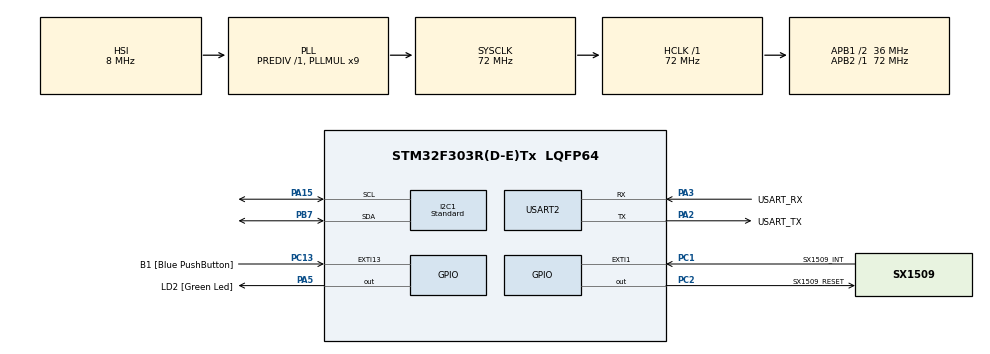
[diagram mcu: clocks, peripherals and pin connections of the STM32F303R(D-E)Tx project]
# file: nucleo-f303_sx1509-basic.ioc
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FREERTOS.Tasks01=defaultTask,24,128,StartDefaultTask,Default,NULL,Dynamic,NULL,NULL
FREERTOS.configTOTAL_HEAP_SIZE=8192
I2C1.I2C_Speed_Mode=I2C_Standard
I2C1.Timing=0x2000090E
Mcu.Family=STM32F3
Mcu.Name=STM32F303R(D-E)Tx
Mcu.Package=LQFP64
NVIC.EXTI1_IRQn=true\:5\:0\:false\:false\:true\:true\:true\:true
NVIC.FPU_IRQn=true\:5\:0\:false\:false\:true\:true\:true\:false
NVIC.I2C1_ER_IRQn=true\:5\:0\:false\:false\:true\:true\:true\:true
NVIC.I2C1_EV_IRQn=true\:5\:0\:false\:false\:true\:true\:true\:true
NVIC.PriorityGroup=NVIC_PRIORITYGROUP_4
NVIC.TIM6_DAC_IRQn=true\:0\:0\:false\:false\:true\:false\:false\:true
NVIC.TimeBase=TIM6_DAC_IRQn
NVIC.TimeBaseIP=TIM6
PA13.GPIO_Label=TMS
PA13.Mode=Serial_Wire
PA13.Signal=SYS_JTMS-SWDIO
PA14.GPIO_Label=TCK
PA14.Mode=Serial_Wire
PA14.Signal=SYS_JTCK-SWCLK
PA15.Mode=I2C
PA15.Signal=I2C1_SCL
PA2.GPIO_Label=USART_TX
PA2.GPIO_Mode=GPIO_MODE_AF_PP
PA2.GPIO_PuPd=GPIO_NOPULL
PA2.GPIO_Speed=GPIO_SPEED_FREQ_LOW
PA2.Mode=Asynchronous
PA2.Signal=USART2_TX
PA3.GPIO_Label=USART_RX
PA3.GPIO_Mode=GPIO_MODE_AF_PP
PA3.GPIO_PuPd=GPIO_NOPULL
PA3.GPIO_Speed=GPIO_SPEED_FREQ_LOW
PA3.Mode=Asynchronous
PA3.Signal=USART2_RX
PA5.GPIO_Label=LD2 [Green Led]
PA5.GPIO_Mode=GPIO_MODE_OUTPUT_PP
PA5.GPIO_PuPd=GPIO_NOPULL
PA5.GPIO_Speed=GPIO_SPEED_FREQ_LOW
PA5.Signal=GPIO_Output
PB3.GPIO_Label=SWO
PB3.Signal=SYS_JTDO-TRACESWO
PB7.Mode=I2C
PB7.Signal=I2C1_SDA
PC1.GPIO_Label=SX1509_INT
PC1.GPIO_ModeDefaultEXTI=GPIO_MODE_IT_FALLING
PC1.GPIO_PuPd=GPIO_PULLUP
PC1.Signal=GPXTI1
PC13.GPIO_Label=B1 [Blue PushButton]
PC13.GPIO_ModeDefaultEXTI=GPIO_MODE_IT_FALLING
PC13.Signal=GPXTI13
PC14-OSC32_IN.Mode=LSE-External-Oscillator
PC14-OSC32_IN.Signal=RCC_OSC32_IN
PC15-OSC32_OUT.Mode=LSE-External-Oscillator
PC15-OSC32_OUT.Signal=RCC_OSC32_OUT
PC2.GPIO_Label=SX1509_RESET
PC2.Signal=GPIO_Output
PF0-OSC_IN.Mode=HSE-External-Clock-Source
PF0-OSC_IN.Signal=RCC_OSC_IN
PF1-OSC_OUT.Signal=RCC_OSC_OUT
ProjectManager.HeapSize=0x200
ProjectManager.StackSize=0x400
ProjectManager.TargetToolchain=STM32CubeIDE
RCC.AHBFreq_Value=72000000
RCC.APB1CLKDivider=RCC_HCLK_DIV2
RCC.APB1Freq_Value=36000000
RCC.APB1TimFreq_Value=72000000
RCC.APB2Freq_Value=72000000
RCC.APB2TimFreq_Value=72000000
RCC.CortexFreq_Value=72000000
RCC.HCLKFreq_Value=72000000
RCC.HSE_VALUE=8000000
RCC.HSI_VALUE=8000000
RCC.PLLM=8
RCC.PLLMUL=RCC_PLL_MUL9
RCC.PLLN=336
RCC.PLLP=RCC_PLLP_DIV4
RCC.PLLQ=7
RCC.RCC_PLLsource_Clock_Source_FROM_HSE=RCC_HSE_PREDIV_DIV2
RCC.SYSCLKFreq_VALUE=72000000
RCC.SYSCLKSourceVirtual=RCC_SYSCLKSOURCE_PLLCLK
RCC.USBFreq_Value=72000000
USART2.VirtualMode-Asynchronous=VM_ASYNC
VP_FREERTOS_VS_CMSIS_V2.Mode=CMSIS_V2
VP_SYS_VS_tim6.Mode=TIM6
board=NUCLEO-F303RE

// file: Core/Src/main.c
/* USER CODE BEGIN Header */
/**
  ******************************************************************************
  * @file           : main.c
  * @brief          : Main program body
  ******************************************************************************
  * @attention
  *
  * <h2><center>&copy; Copyright (c) 2020 STMicroelectronics.
  * All rights reserved.</center></h2>
  *
  * This software component is licensed by ST under BSD 3-Clause license,
  * the "License"; You may not use this file except in compliance with the
  * License. You may obtain a copy of the License at:
  *                        opensource.org/licenses/BSD-3-Clause
  *
  ******************************************************************************
  */
/* USER CODE END Header */

#include "main.h"
#include "cmsis_os.h"

/* USER CODE BEGIN Includes */
#include "ioexp-defs.h"
/* USER CODE END Includes */

/* USER CODE BEGIN PD */
#define I2CADDR 0x3e
/* USER CODE END PD */

I2C_HandleTypeDef hi2c1;

UART_HandleTypeDef huart2;

/* Definitions for defaultTask */
osThreadId_t defaultTaskHandle;
const osThreadAttr_t defaultTask_attributes = {
  .name = "defaultTask",
  .priority = (osPriority_t) osPriorityNormal,
  .stack_size = 128 * 4
};

void SystemClock_Config(void);
static void MX_GPIO_Init(void);
static void MX_USART2_UART_Init(void);
static void MX_I2C1_Init(void);
void StartDefaultTask(void *argument);

/* USER CODE BEGIN 0 */
uint16_t readWord(uint8_t reg) {
	uint16_t retVal;
	HAL_I2C_Mem_Read(&hi2c1, I2CADDR<<1, reg, sizeof(uint8_t), &retVal, sizeof(retVal), 0xffffffff );
	return retVal;
}

void writeRegister(uint8_t reg, uint8_t regData) {
	HAL_I2C_Mem_Write(&hi2c1, I2CADDR<<1, reg, sizeof(uint8_t), &regData, sizeof(regData), 0xffffffff );
}

/* USER CODE END 0 */

int main(void)
{
  /* USER CODE BEGIN 1 */
uint16_t stat;
uint8_t cnt;
  /* USER CODE END 1 */

  /* MCU Configuration--------------------------------------------------------*/

  /* Reset of all peripherals, Initializes the Flash interface and the Systick. */
  HAL_Init();

  /* Configure the system clock */
  SystemClock_Config();

  /* Initialize all configured peripherals */
  MX_GPIO_Init();
  MX_USART2_UART_Init();
  MX_I2C1_Init();

  /* Init scheduler */
  osKernelInitialize();

  /* Create the thread(s) */
  /* creation of defaultTask */
  defaultTaskHandle = osThreadNew(StartDefaultTask, NULL, &defaultTask_attributes);

  /* Start scheduler */
  osKernelStart();

  /* We should never get here as control is now taken by the scheduler */
  /* Infinite loop */
  /* USER CODE BEGIN WHILE */

  stat = readWord( RegInterruptMaskA );
  writeRegister( RegDirA, 0x00 );		// portti on lähtö (kaikki bitit)
  writeRegister( RegPullUpA, 0x00 );	// ylösvedot pois
  writeRegister( RegPullDownA, 0x00 );	// alasvedot pois

	while (1) {
		for ( cnt = 0; cnt < 20; cnt++ ) {
			writeRegister( RegDataA, 0xaa );
			HAL_Delay(100);
			writeRegister( RegDataA, 0x55 );
			HAL_Delay(100);
		}
		writeRegister( RegDataA, 0x00 );
		for ( cnt = 0; cnt < 64; cnt++ ) {
			writeRegister( RegDataA, 1 << (cnt % 8) );
			HAL_Delay(100);
		}
		for ( cnt = 0; cnt < 64; cnt++ ) {
			writeRegister( RegDataA, (1 << (3 - (cnt % 4) ) | ( 1 << (4 + (cnt % 4)))) );
			HAL_Delay(100);
		}

    /* USER CODE END WHILE */

  }
}

void SystemClock_Config(void)
{
  RCC_OscInitTypeDef RCC_OscInitStruct = {0};
  RCC_ClkInitTypeDef RCC_ClkInitStruct = {0};
  RCC_PeriphCLKInitTypeDef PeriphClkInit = {0};

  /** Initializes the CPU, AHB and APB busses clocks
  */
  RCC_OscInitStruct.OscillatorType = RCC_OSCILLATORTYPE_HSI;
  RCC_OscInitStruct.HSIState = RCC_HSI_ON;
  RCC_OscInitStruct.HSICalibrationValue = RCC_HSICALIBRATION_DEFAULT;
  RCC_OscInitStruct.PLL.PLLState = RCC_PLL_ON;
  RCC_OscInitStruct.PLL.PLLSource = RCC_PLLSOURCE_HSI;
  RCC_OscInitStruct.PLL.PLLMUL = RCC_PLL_MUL9;
  RCC_OscInitStruct.PLL.PREDIV = RCC_PREDIV_DIV1;
  if (HAL_RCC_OscConfig(&RCC_OscInitStruct) != HAL_OK)
  {
    Error_Handler();
  }
  /** Initializes the CPU, AHB and APB busses clocks
  */
  RCC_ClkInitStruct.ClockType = RCC_CLOCKTYPE_HCLK|RCC_CLOCKTYPE_SYSCLK
                              |RCC_CLOCKTYPE_PCLK1|RCC_CLOCKTYPE_PCLK2;
  RCC_ClkInitStruct.SYSCLKSource = RCC_SYSCLKSOURCE_PLLCLK;
  RCC_ClkInitStruct.AHBCLKDivider = RCC_SYSCLK_DIV1;
  RCC_ClkInitStruct.APB1CLKDivider = RCC_HCLK_DIV2;
  RCC_ClkInitStruct.APB2CLKDivider = RCC_HCLK_DIV1;

  if (HAL_RCC_ClockConfig(&RCC_ClkInitStruct, FLASH_LATENCY_2) != HAL_OK)
  {
    Error_Handler();
  }
  PeriphClkInit.PeriphClockSelection = RCC_PERIPHCLK_USART2|RCC_PERIPHCLK_I2C1;
  PeriphClkInit.Usart2ClockSelection = RCC_USART2CLKSOURCE_PCLK1;
  PeriphClkInit.I2c1ClockSelection = RCC_I2C1CLKSOURCE_HSI;
  if (HAL_RCCEx_PeriphCLKConfig(&PeriphClkInit) != HAL_OK)
  {
    Error_Handler();
  }
}

static void MX_I2C1_Init(void)
{

  hi2c1.Instance = I2C1;
  hi2c1.Init.Timing = 0x2000090E;
  hi2c1.Init.OwnAddress1 = 0;
  hi2c1.Init.AddressingMode = I2C_ADDRESSINGMODE_7BIT;
  hi2c1.Init.DualAddressMode = I2C_DUALADDRESS_DISABLE;
  hi2c1.Init.OwnAddress2 = 0;
  hi2c1.Init.OwnAddress2Masks = I2C_OA2_NOMASK;
  hi2c1.Init.GeneralCallMode = I2C_GENERALCALL_DISABLE;
  hi2c1.Init.NoStretchMode = I2C_NOSTRETCH_DISABLE;
  if (HAL_I2C_Init(&hi2c1) != HAL_OK)
  {
    Error_Handler();
  }
  /** Configure Analogue filter
  */
  if (HAL_I2CEx_ConfigAnalogFilter(&hi2c1, I2C_ANALOGFILTER_ENABLE) != HAL_OK)
  {
    Error_Handler();
  }
  /** Configure Digital filter
  */
  if (HAL_I2CEx_ConfigDigitalFilter(&hi2c1, 0) != HAL_OK)
  {
    Error_Handler();
  }

}

static void MX_USART2_UART_Init(void)
{

  huart2.Instance = USART2;
  huart2.Init.BaudRate = 38400;
  huart2.Init.WordLength = UART_WORDLENGTH_8B;
  huart2.Init.StopBits = UART_STOPBITS_1;
  huart2.Init.Parity = UART_PARITY_NONE;
  huart2.Init.Mode = UART_MODE_TX_RX;
  huart2.Init.HwFlowCtl = UART_HWCONTROL_NONE;
  huart2.Init.OverSampling = UART_OVERSAMPLING_16;
  huart2.Init.OneBitSampling = UART_ONE_BIT_SAMPLE_DISABLE;
  huart2.AdvancedInit.AdvFeatureInit = UART_ADVFEATURE_NO_INIT;
  if (HAL_UART_Init(&huart2) != HAL_OK)
  {
    Error_Handler();
  }

}

static void MX_GPIO_Init(void)
{
  GPIO_InitTypeDef GPIO_InitStruct = {0};

  /* GPIO Ports Clock Enable */
  __HAL_RCC_GPIOC_CLK_ENABLE();
  __HAL_RCC_GPIOF_CLK_ENABLE();
  __HAL_RCC_GPIOA_CLK_ENABLE();
  __HAL_RCC_GPIOB_CLK_ENABLE();

  /*Configure GPIO pin Output Level */
  HAL_GPIO_WritePin(SX1509_RESET_GPIO_Port, SX1509_RESET_Pin, GPIO_PIN_RESET);

  /*Configure GPIO pin Output Level */
  HAL_GPIO_WritePin(LD2_GPIO_Port, LD2_Pin, GPIO_PIN_RESET);

  /*Configure GPIO pin : B1_Pin */
  GPIO_InitStruct.Pin = B1_Pin;
  GPIO_InitStruct.Mode = GPIO_MODE_IT_FALLING;
  GPIO_InitStruct.Pull = GPIO_NOPULL;
  HAL_GPIO_Init(B1_GPIO_Port, &GPIO_InitStruct);

  /*Configure GPIO pin : SX1509_INT_Pin */
  GPIO_InitStruct.Pin = SX1509_INT_Pin;
  GPIO_InitStruct.Mode = GPIO_MODE_IT_FALLING;
  GPIO_InitStruct.Pull = GPIO_PULLUP;
  HAL_GPIO_Init(SX1509_INT_GPIO_Port, &GPIO_InitStruct);

  /*Configure GPIO pin : SX1509_RESET_Pin */
  GPIO_InitStruct.Pin = SX1509_RESET_Pin;
  GPIO_InitStruct.Mode = GPIO_MODE_OUTPUT_PP;
  GPIO_InitStruct.Pull = GPIO_NOPULL;
  GPIO_InitStruct.Speed = GPIO_SPEED_FREQ_LOW;
  HAL_GPIO_Init(SX1509_RESET_GPIO_Port, &GPIO_InitStruct);

  /*Configure GPIO pin : LD2_Pin */
  GPIO_InitStruct.Pin = LD2_Pin;
  GPIO_InitStruct.Mode = GPIO_MODE_OUTPUT_PP;
  GPIO_InitStruct.Pull = GPIO_NOPULL;
  GPIO_InitStruct.Speed = GPIO_SPEED_FREQ_LOW;
  HAL_GPIO_Init(LD2_GPIO_Port, &GPIO_InitStruct);

  /* EXTI interrupt init*/
  HAL_NVIC_SetPriority(EXTI1_IRQn, 5, 0);
  HAL_NVIC_EnableIRQ(EXTI1_IRQn);

}

void StartDefaultTask(void *argument)
{
  for(;;)
  {
    osDelay(1);
  }
}

 /**
  * @brief  Period elapsed callback in non blocking mode
  * @note   This function is called  when TIM6 interrupt took place, inside
  * HAL_TIM_IRQHandler(). It makes a direct call to HAL_IncTick() to increment
  * a global variable "uwTick" used as application time base.
  * @param  htim : TIM handle
  * @retval None
  */
void HAL_TIM_PeriodElapsedCallback(TIM_HandleTypeDef *htim)
{
  if (htim->Instance == TIM6) {
    HAL_IncTick();
  }
}

void Error_Handler(void)
{
}

/************************ (C) COPYRIGHT STMicroelectronics *****END OF FILE****/
